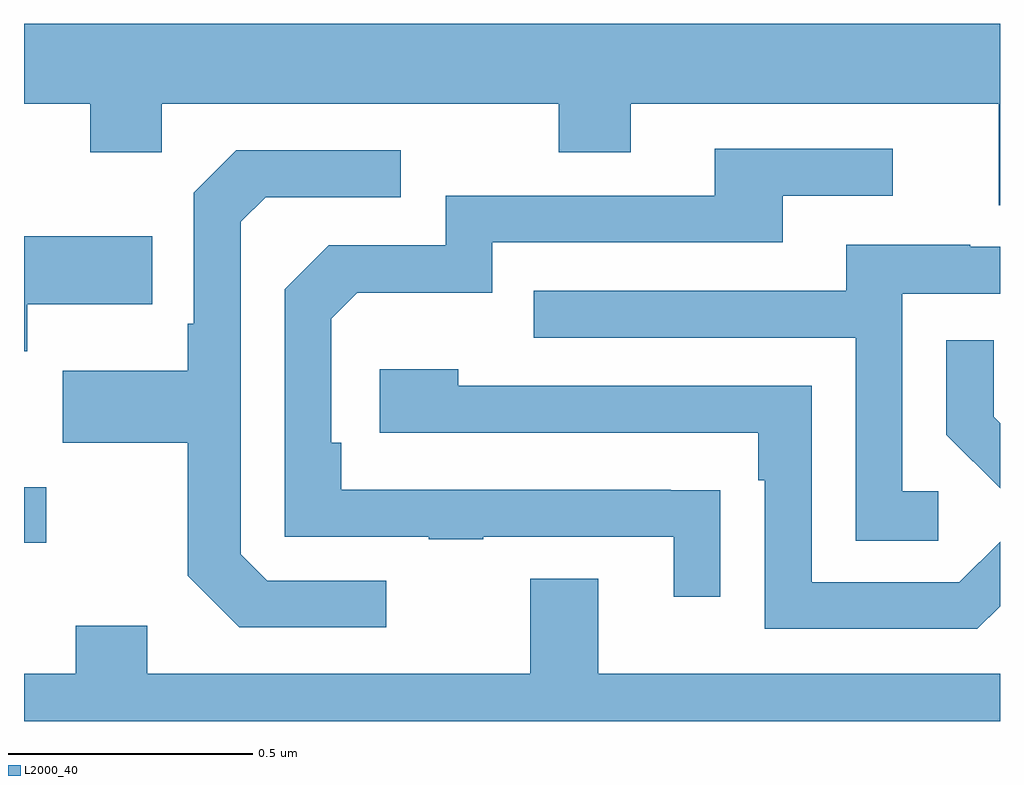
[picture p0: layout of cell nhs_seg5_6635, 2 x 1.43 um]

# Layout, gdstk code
import gdstk
lib = gdstk.Library(unit=1e-6, precision=1e-09)
def R(c, l, rs):  # rectangles x0, y0, x1, y1
    for r in rs: c.add(gdstk.rectangle(r[:2], r[2:], *l))
def P(c, l, *ps):  # polygons
    for p in ps: c.add(gdstk.Polygon(p, *l))
L2000_40 = (2000, 40)

nhs_seg5_6635 = lib.new_cell('nhs_seg5_6635')
R(nhs_seg5_6635, L2000_40, [(198,885.165,198.046,885.278)])
P(nhs_seg5_6635, L2000_40, [(200,886.228),(198,886.228),(198,886.064),(198.136,886.064),(198.136,885.965),(198.282,885.965),(198.282,886.064),(199.096,886.064),(199.096,885.965),(199.243,885.965),(199.243,886.064),(199.997,886.064),(199.997,885.856),(200,885.856)],
  [(199.427,885.272),(199.325,885.272),(199.325,885.273),(198.65,885.273),(198.65,885.37),(198.63,885.37),(198.63,885.624),(198.683,885.677),(198.96,885.677),(198.96,885.78),(199.555,885.78),(199.555,885.876),(199.78,885.876),(199.78,885.972),(199.415,885.972),(199.415,885.876),(198.864,885.876),(198.864,885.774),(198.624,885.774),(198.534,885.684),(198.534,885.177),(198.829,885.177),(198.829,885.172),(198.941,885.172),(198.941,885.177),(199.331,885.177),(199.331,885.054),(199.427,885.054)],
  [(198.742,885.087),(198.498,885.087),(198.444,885.141),(198.444,885.822),(198.495,885.873),(198.772,885.873),(198.772,885.969),(198.435,885.969),(198.348,885.882),(198.348,885.613),(198.336,885.613),(198.336,885.517),(198.079,885.517),(198.079,885.37),(198.336,885.37),(198.336,885.097),(198.441,884.991),(198.742,884.991)],
  [(198.007,885.653),(198.263,885.653),(198.263,885.793),(198,885.793),(198,885.557),(198.007,885.557)],
  [(199.873,885.27),(199.8,885.27),(199.8,885.675),(200,885.675),(200,885.771),(199.939,885.771),(199.939,885.775),(199.685,885.775),(199.685,885.681),(199.045,885.681),(199.045,885.585),(199.704,885.585),(199.704,885.169),(199.873,885.169)],
  [(200,885.41),(199.987,885.423),(199.987,885.58),(199.89,885.58),(199.89,885.386),(200,885.276)],
  [(200,885.035),(200,885.167),(199.917,885.084),(199.614,885.084),(199.614,885.486),(198.89,885.486),(198.89,885.52),(198.729,885.52),(198.729,885.39),(199.505,885.39),(199.505,885.293),(199.518,885.293),(199.518,884.988),(199.953,884.988)],
  [(200,884.896),(199.177,884.896),(199.177,885.091),(199.037,885.091),(199.037,884.896),(198.253,884.896),(198.253,884.995),(198.106,884.995),(198.106,884.896),(198,884.896),(198,884.799),(200,884.799)])

lib.write_gds('nhs_seg5_6635.gds')
